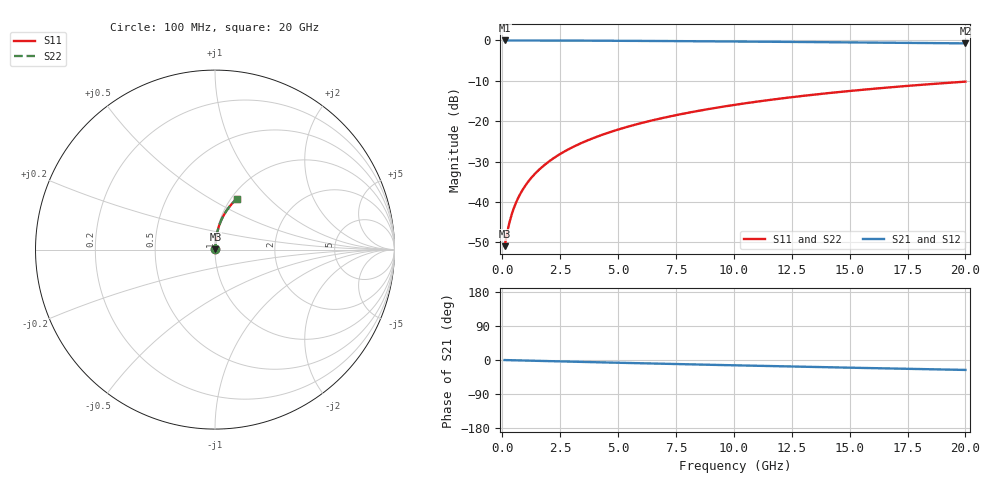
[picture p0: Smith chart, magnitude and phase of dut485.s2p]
! Touchstone file exported from HFSS 2024.1.0
!  File:  C:/UserFiles/LocalFiles/RDL_TSV_Batchsim/temp_RDL_top_485_1779678457.aedt
!  Generated:  11:09:44 AM May 25, 2026
!  Design:  RDL_top
!  Project:  temp_RDL_top_485_1779678457
!  Setup:  Setup1
!  Solution:  Sweep
! Variables:
!  dtsv = 10.80580581um
!  hbump = 3um
!  htsv = 87.26um
!  ldown = 100um
!  lrdl = 313.61um
!  p = 40
!  p1 = 49.14um
!  rhole = 1um
!  t = 450um
!  tdown = 3.915915916um
!  trdl = 3.43um
!  wdown = 15.38538539um
!  wrdl = 15.08um
# GHz S MA R 50.000000
! Terminal data exported
! Port[1] = Box2_T1
! Port[2] = Box2_T2
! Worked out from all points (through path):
!   200 points, 100 MHz to 20 GHz, reference 50 ohm
!   highest |S21| = -0.02 dB at 100 MHz (marker M1); lowest = -0.7 dB at 20 GHz (marker M2)
!   group delay of S21, straight-line fit = 3.63 ps
!   lowest |S11| = -51.0 dB at 100 MHz (marker M3), VSWR 1.01, Z = 50.2 + j0.165 ohm
!   |S11| at or under -10 dB: start of sweep to end of sweep
!   |S22| runs from -51.0 to -10.2 dB; largest |S21 - S12| = 2.7e-15
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0.1  0.002829 35.4  0.9977 -0.2  0.9977 -0.2  0.002829 35.4
! Gamma 0 0 0 0
! Port Impedance 50 0 50 0
0.2  0.004024 54.1  0.9976 -0.3  0.9976 -0.3  0.004024 54.1
0.3  0.00543 63.5  0.9976 -0.5  0.9976 -0.5  0.00543 63.5
0.4  0.006901 68.8  0.9975 -0.6  0.9975 -0.6  0.006901 68.8
0.5  0.008395 72.2  0.9974 -0.8  0.9974 -0.8  0.008395 72.2
0.6  0.0099 74.5  0.9973 -0.9  0.9973 -0.9  0.0099 74.5
0.8  0.01293 77.6  0.9971 -1.2  0.9971 -1.2  0.01293 77.6
1.1  0.01751 80.3  0.9969 -1.6  0.9969 -1.6  0.01751 80.3
1.5  0.02366 82.1  0.9964 -2.2  0.9964 -2.2  0.02366 82.1
1.8  0.0283 82.9  0.996 -2.7  0.996 -2.7  0.0283 82.9
2.1  0.03296 83.4  0.9956 -3.1  0.9956 -3.1  0.03296 83.4
2.7  0.04232 83.9  0.9945 -4.0  0.9945 -4.0  0.04232 83.9
3.5  0.05487 84.0  0.9928 -5.1  0.9928 -5.1  0.05488 84.0
4.2  0.06592 83.8  0.9909 -6.1  0.9909 -6.1  0.06592 83.8
5  0.07861 83.3  0.9885 -7.2  0.9885 -7.2  0.07861 83.4
5.9  0.09295 82.7  0.9855 -8.5  0.9855 -8.5  0.09296 82.7
6.8  0.1073 81.9  0.9822 -9.7  0.9822 -9.7  0.1073 81.9
8.3  0.1314 80.5  0.9762 -11.8  0.9762 -11.8  0.1314 80.5
10.1  0.1601 78.5  0.9683 -14.1  0.9683 -14.1  0.1601 78.5
13.4  0.2118 74.6  0.9527 -18.3  0.9527 -18.3  0.2119 74.7
16.7  0.2615 70.7  0.9358 -22.3  0.9358 -22.3  0.2615 70.7
20  0.3084 66.7  0.918 -26.2  0.918 -26.2  0.3085 66.8
